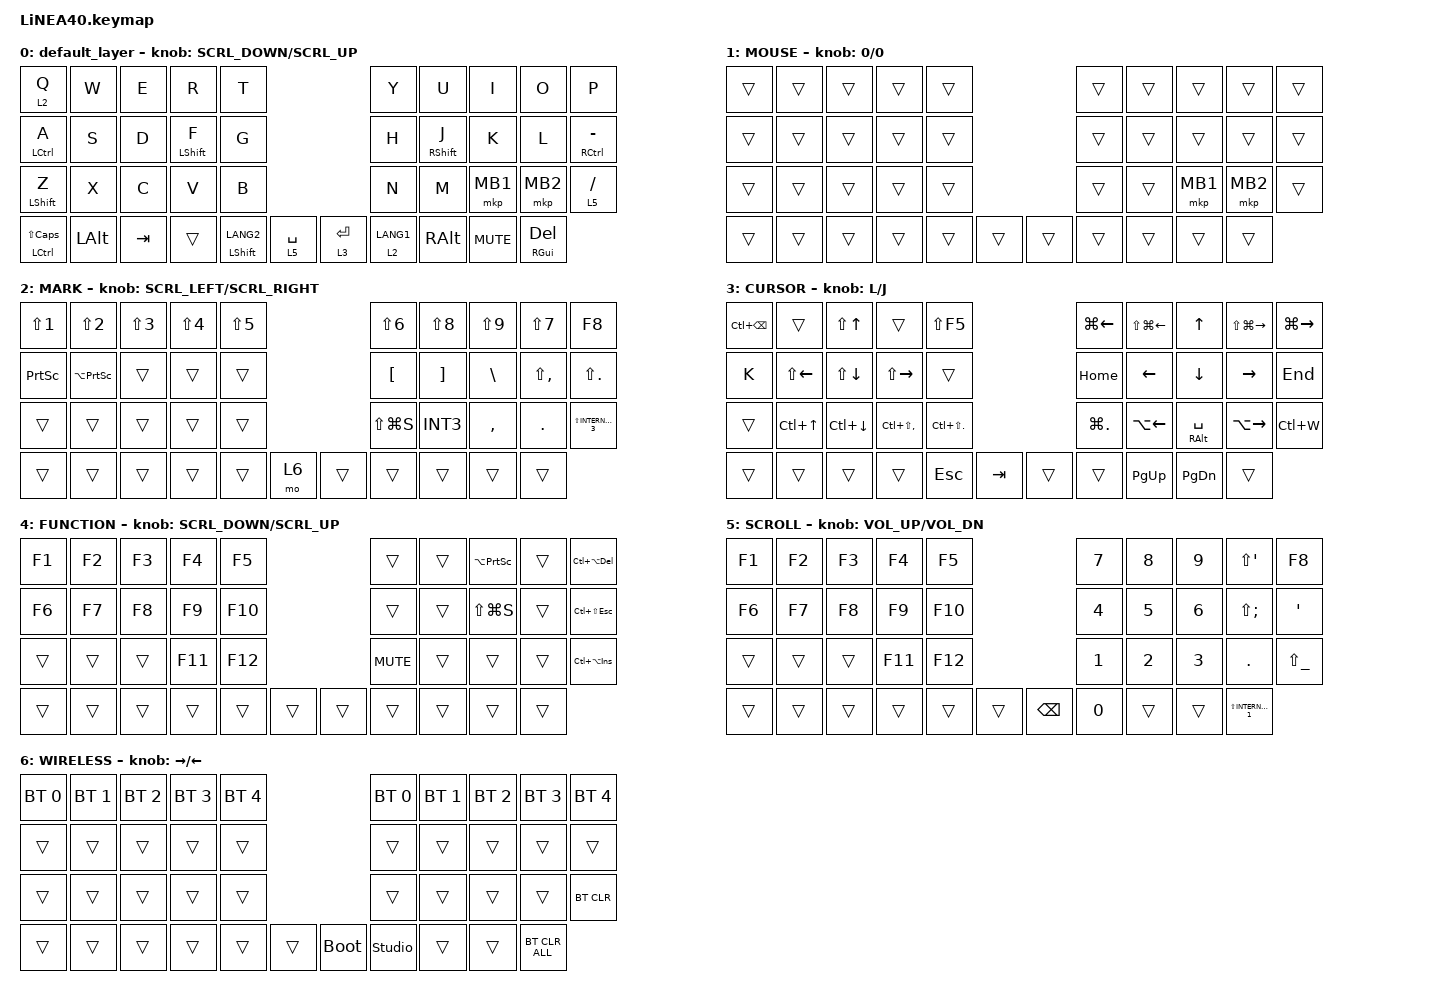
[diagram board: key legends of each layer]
#define ZMK_POINTING_DEFAULT_SCRL_VAL 150

#include <dt-bindings/zmk/input_transform.h>
#include <input/processors.dtsi>
#include <zephyr/dt-bindings/input/input-event-codes.h>
#include <behaviors.dtsi>
#include <dt-bindings/zmk/bt.h>
#include <dt-bindings/zmk/keys.h>
#include <dt-bindings/zmk/pointing.h>

#define MOUSE 1
#define MARK 2
#define CURSOR 3
#define FUNCTION 4
#define SCROLL 5
#define WIRELESS 6

//20260402追加：mtからの戻りをはやくする

&mt {
    tapping-term-ms = <175>;
    flavor = "tap-preferred";       /* ←これが一番重要です */
    require-prior-idle-ms = <150>;
};

&lt { quick-tap-ms = <200>; };    /* LiSMに合わせる */
//mouse cursol

&mmv {
    delay-ms = <20>;
    trigger-period-ms = <5>;
    time-to-max-speed-ms = <100>;
    acceleration-exponent = <2>;
};

//mouse scroll

&msc {
    delay-ms = <3>;
    trigger-period-ms = <3>;
    time-to-max-speed-ms = <100>;
    acceleration-exponent = <0>;
};

/ {
    input_processors {
        zip_wheel_scaler: zip_wheel_scaler {
            compatible = "zmk,input-processor-scaler";
            #input-processor-cells = <2>;
            type = <INPUT_EV_REL>;
            codes = <INPUT_REL_WHEEL>;
            track-remainders;
        };
    };
};

&msc_input_listener {
    speed_up {
        layers = <FUNCTION>;
        input-processors = <&zip_wheel_scaler 3 1>; //スクロールを3倍速にする
    };
};

&trackball_listener {
    scroller {
        layers = <SCROLL>;
        input-processors =
            <&zip_xy_transform INPUT_TRANSFORM_Y_INVERT>,
            //スクロール方向を逆転,,,,,,,,,,,,,,,,,,
            <&zip_xy_to_scroll_mapper>;
    };
};

/ {
    combos {
        compatible = "zmk,combos";

        ZenkakuHankaku {
            bindings = <&kp GRAVE>;
            key-positions = <11 12>;
        };

        DeleteKey {
            bindings = <&kp DEL>;
            key-positions = <7 8>;
        };

        InsertKey {
            bindings = <&kp INS>;
            key-positions = <6 7>;
        };

        CenterClick {
            bindings = <&mkp MB3>;
            key-positions = <17 16>;
        };

        RightClick {
            bindings = <&mkp MB2>;
            key-positions = <18 17>;
        };

        PrevClick {
            bindings = <&mkp MB4>;
            key-positions = <27 28>;
        };

        ClickNext {
            bindings = <&mkp MB5>;
            key-positions = <26 27>;
        };
    };

    behaviors {
        re_kp: sensor_rotate_kp {
            compatible = "zmk,behavior-sensor-rotate-var";
            #sensor-binding-cells = <2>;
            bindings = <&kp>, <&kp>;
        };

        mouse_scrl: mouse_wheel_scrl {
            compatible = "zmk,behavior-sensor-rotate-var";
            #sensor-binding-cells = <2>;
            bindings = <&msc>, <&msc>;

            tap-ms = <20>;
        };
    };

    keymap {
        compatible = "zmk,keymap";

        default_layer {
            bindings = <
&lt 2 Q             &kp W         &kp E    &kp R         &kp T                                         &kp Y        &kp U         &kp I     &kp O       &kp P
&mt LCTRL A         &kp S         &kp D    &mt LSHIFT F  &kp G                                         &kp H        &mt RSHIFT J  &kp K     &kp L       &mt RCTRL MINUS
&mt LSHIFT Z        &kp X         &kp C    &kp V         &kp B                                         &kp N        &kp M         &mkp MB1  &mkp MB2    &lt 5 SLASH
&mt LCTRL LS(CAPS)  &kp LEFT_ALT  &kp TAB  &trans        &mt LSHIFT LANG2  &lt 5 SPACE    &lt 3 ENTER  &lt 2 LANG1                &kp RALT  &kp C_MUTE  &mt RIGHT_GUI DELETE
            >;

            sensor-bindings = <&mouse_scrl SCRL_DOWN SCRL_UP>;
        };

        //1

        MOUSE {
            bindings = <
&trans  &trans  &trans  &trans  &trans                    &trans  &trans  &trans    &trans    &trans
&trans  &trans  &trans  &trans  &trans                    &trans  &trans  &trans    &trans    &trans
&trans  &trans  &trans  &trans  &trans                    &trans  &trans  &mkp MB1  &mkp MB2  &trans
&trans  &trans  &trans  &trans  &trans  &trans    &trans  &trans          &trans    &trans    &trans
            >;

            sensor-bindings = <&inc_dec_kp 0 0>;
        };

        //2

        MARK {
            bindings = <
&kp LS(NUMBER_1)  &kp LS(NUMBER_2)     &kp LS(NUMBER_3)  &kp LS(NUMBER_4)  &kp LS(NUMBER_5)                   &kp LS(NUMBER_6)  &kp LS(NUMBER_8)   &kp LS(NUMBER_9)  &kp LS(NUMBER_7)  &kp F8
&kp PRINTSCREEN   &kp LA(PRINTSCREEN)  &trans            &trans            &trans                             &kp LEFT_BRACKET  &kp RIGHT_BRACKET  &kp BACKSLASH     &kp LS(COMMA)     &kp LS(PERIOD)
&trans            &trans               &trans            &trans            &trans                             &kp LS(LG(S))     &kp INT3           &kp COMMA         &kp PERIOD        &kp LS(INTERNATIONAL_3)
&trans            &trans               &trans            &trans            &trans            &mo 6    &trans  &trans                               &trans            &trans            &trans
            >;

            sensor-bindings = <&mouse_scrl SCRL_LEFT SCRL_RIGHT>;
        };

        //3

        CURSOR {
            bindings = <
&kp LC(BACKSPACE)  &trans              &kp LS(UP_ARROW)    &trans               &kp LS(F5)                             &kp LG(LEFT)    &kp LS(LG(LEFT))  &kp UP          &kp LS(LG(RIGHT))  &kp LG(RIGHT)
&kp K              &kp LS(LEFT_ARROW)  &kp LS(DOWN)        &kp LS(RIGHT_ARROW)  &trans                                 &kp HOME        &kp LEFT          &kp DOWN        &kp RIGHT          &kp END
&trans             &kp LC(UP_ARROW)    &kp LC(DOWN_ARROW)  &kp LC(LS(COMMA))    &kp LC(LS(PERIOD))                     &kp LG(PERIOD)  &kp LA(LEFT)      &mt RALT SPACE  &kp LA(RIGHT)      &kp LC(W)
&trans             &trans              &trans              &trans               &kp ESCAPE          &kp TAB    &trans  &trans                            &kp PG_UP       &kp PG_DN          &trans
            >;

            sensor-bindings = <&inc_dec_kp L J>;
        };

        //4

        FUNCTION {
            bindings = <
&kp F1  &kp F2  &kp F3  &kp F4   &kp F5                     &trans      &trans  &kp LA(PRINTSCREEN)  &trans  &kp LC(LA(DELETE))
&kp F6  &kp F7  &kp F8  &kp F9   &kp F10                    &trans      &trans  &kp LS(LG(S))        &trans  &kp LC(LS(ESCAPE))
&trans  &trans  &trans  &kp F11  &kp F12                    &kp C_MUTE  &trans  &trans               &trans  &kp LC(LA(INS))
&trans  &trans  &trans  &trans   &trans   &trans    &trans  &trans              &trans               &trans  &trans
            >;

            sensor-bindings = <&mouse_scrl SCRL_DOWN SCRL_UP>;
        };

        //5

        SCROLL {
            bindings = <
&kp F1  &kp F2  &kp F3  &kp F4   &kp F5                            &kp NUMBER_7  &kp NUMBER_8  &kp NUMBER_9  &kp LS(APOS)  &kp F8
&kp F6  &kp F7  &kp F8  &kp F9   &kp F10                           &kp NUMBER_4  &kp NUMBER_5  &kp NUMBER_6  &kp LS(SEMI)  &kp APOS
&trans  &trans  &trans  &kp F11  &kp F12                           &kp NUMBER_1  &kp NUMBER_2  &kp NUMBER_3  &kp PERIOD    &kp LS(UNDERSCORE)
&trans  &trans  &trans  &trans   &trans   &trans    &kp BACKSPACE  &kp NUMBER_0                &trans        &trans        &kp LS(INTERNATIONAL_1)
            >;

            sensor-bindings = <&inc_dec_kp C_VOL_UP C_VOL_DN>;
        };

        //6

        WIRELESS {
            bindings = <
&bt BT_SEL 0  &bt BT_SEL 1  &bt BT_SEL 2  &bt BT_SEL 3  &bt BT_SEL 4                         &bt BT_SEL 0    &bt BT_SEL 1  &bt BT_SEL 2  &bt BT_SEL 3  &bt BT_SEL 4
&trans        &trans        &trans        &trans        &trans                               &trans          &trans        &trans        &trans        &trans
&trans        &trans        &trans        &trans        &trans                               &trans          &trans        &trans        &trans        &bt BT_CLR
&trans        &trans        &trans        &trans        &trans        &trans    &bootloader  &studio_unlock                &trans        &trans        &bt BT_CLR_ALL
            >;

            sensor-bindings = <&inc_dec_kp RIGHT_ARROW LEFT_ARROW>;
        };
    };
};
